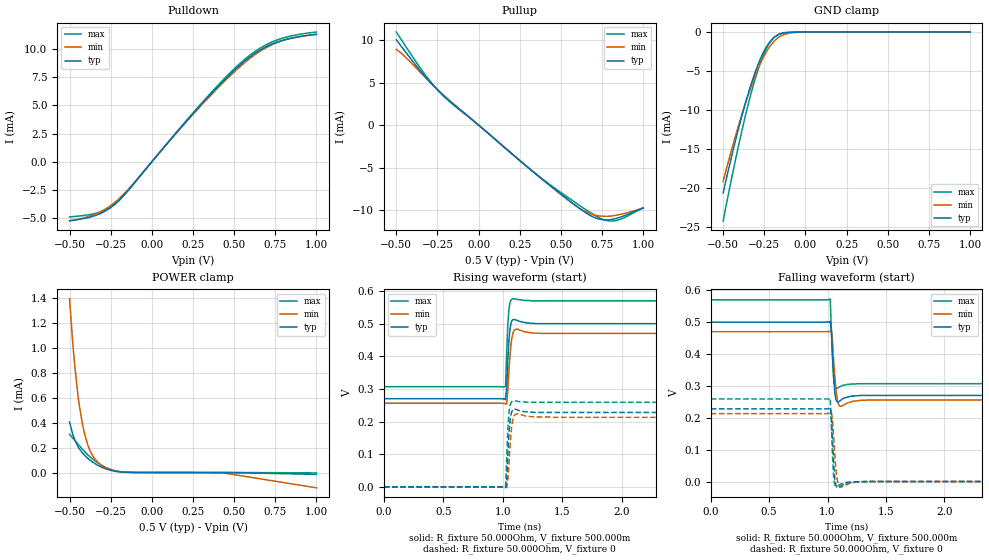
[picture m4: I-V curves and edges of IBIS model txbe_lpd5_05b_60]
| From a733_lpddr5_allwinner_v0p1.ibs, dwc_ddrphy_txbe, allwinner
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[Model] txbe_lpd5_05b_60
Model_type   I/O
Polarity   Non-Inverting
Enable   Active-High
C_comp   1.524pF   1.517pF   1.53pF
C_comp_pullup   285.267fF   277.290fF   288.625fF
C_comp_pulldown   1.179pF   1.178pF   1.182pF
Vinh = 310.000mV
Vinl = 190.000mV
Vmeas = 250.000mV
Vref = 250.000mV
Rref = 50Ohms
Cref = 0pF
[Model Spec]
Vinh   310.000mV   295.000mV   345.000mV
Vinl   190.000mV   175.000mV   225.000mV
Vmeas   250.000mV   235.000mV   285.000mV
Vref   250.000mV   235.000mV   285.000mV
D_overshoot_ampl_h 0.1 NA   NA
D_overshoot_ampl_l 0.1 NA   NA
D_overshoot_area_l 300.000m NA   NA
D_overshoot_area_h 300.000m NA   NA
[Receiver Thresholds]
Vth = 125.000mV
Vth_min = 118.000mV
Vth_max = 143.000mV
Vinh_ac = 60.000mV
Vinh_dc = 60.000mV
Vinl_ac = -60.000mV
Vinl_dc = -60.000mV
Tslew_ac = 5.000ns
Threshold_sensitivity = 0.5
Reference_supply Pullup_ref
[Temperature Range]   25.000   125.000   -40.000
[Voltage Range]   500.000mV   470.000mV   570.000mV
[GND Clamp Reference]   0.00V   0.00V   0.00V
[C Comp Corner]
| variable   typ   min   max
C_comp   1.524pF   1.517pF   1.53pF
C_comp_pullup   285.267fF   277.290fF   288.625fF
C_comp_pulldown   1.179pF   1.178pF   1.182pF
[Pulldown Reference]   0.00V   0.00V   0.00V
[POWER Clamp Reference]   500.000mV   470.000mV   570.000mV
[Pullup Reference]   500.000mV   470.000mV   570.000mV
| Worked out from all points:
|   slope of the pulldown table from 0 to 0.075 V, typ, clamps not added: 57.3 ohm
|   slope of the pullup table from 0 to 0.075 V, typ, clamps not added: 59.8 ohm
|   GND clamp passes 1 mA (typ) near -0.21 V on its own axis
|   rising waveform, R_fixture 50.000Ohm, V_fixture 500.000m: 20-80 % time 18.6ps typ, 24.3ps min, 18.5ps max; typ from 0.27 V to 0.5 V
|   rising waveform, R_fixture 50.000Ohm, V_fixture 0: 20-80 % time 20.1ps typ, 24.5ps min, 19.4ps max; typ from 0 V to 0.228 V
|   falling waveform, R_fixture 50.000Ohm, V_fixture 500.000m: 20-80 % time 19.3ps typ, 24.8ps min, 18.4ps max; typ from 0.5 V to 0.27 V
|   falling waveform, R_fixture 50.000Ohm, V_fixture 0: 20-80 % time 18.7ps typ, 24.2ps min, 17.5ps max; typ from 0.228 V to 0 V
[GND Clamp]
-500mV    -20.66mA   -19.18mA   -24.28mA
-450mV    -16.12mA   -15.23mA   -18.96mA
-400mV    -11.88mA   -11.55mA   -13.99mA
-360mV    -8.788mA   -8.843mA   -10.34mA
-330mV    -6.694mA   -6.985mA   -7.85mA
-290mV    -4.276mA   -4.796mA   -4.961mA
-260mV    -2.801mA   -3.408mA   -3.189mA
-220mV    -1.359mA   -1.949mA   -1.457mA
-190mV    -682.3uA   -1.166mA   -666.1uA
-130mV    -118.6uA   -317.6uA   -81.42uA
-50mV     -5.925uA   -26.96uA   -2.413uA
1V        1.01uA     7.434uA    299.9nA
[Power Clamp]
-500mV    404.6uA    1.393mA    306.3uA
-480mV    303.9uA    1.031mA    275.7uA
-470mV    267.1uA    878.8uA    260.4uA
-450mV    211.3uA    630.6uA    229.8uA
-420mV    154.5uA    375.8uA    183.9uA
-380mV    103.5uA    189.2uA    130.8uA
-350mV    74.95uA    115.7uA    97.55uA
-310mV    45.62uA    61.44uA    61.27uA
-240mV    14.14uA    19.05uA    19.64uA
-150mV    1.277uA    2.728uA    1.437uA
440mV     -284.7nA   -5.375uA   -46.35nA
1V        -14.93uA   -123.1uA   -3.315uA
[Pulldown]
-500mV    -5.21mA    -5.25mA    -4.89mA
-330mV    -4.696mA   -4.554mA   -4.527mA
-260mV    -4.16mA    -3.98mA    -4.108mA
-200mV    -3.427mA   -3.28mA    -3.444mA
-130mV    -2.293mA   -2.221mA   -2.316mA
320mV     5.401mA    5.299mA    5.475mA
480mV     7.816mA    7.674mA    7.942mA
600mV     9.335mA    9.201mA    9.486mA
680mV     10.09mA    9.993mA    10.25mA
770mV     10.65mA    10.6mA     10.83mA
850mV     10.96mA    10.94mA    11.16mA
1V        11.28mA    11.29mA    11.49mA
[Pullup]
-500mV    10.06mA    8.94mA     10.98mA
-440mV    8.532mA    7.946mA    9.205mA
-330mV    5.848mA    5.745mA    6.083mA
-270mV    4.556mA    4.573mA    4.602mA
-210mV    3.423mA    3.483mA    3.351mA
350mV     -5.813mA   -5.794mA   -5.778mA
550mV     -8.9mA     -8.939mA   -8.634mA
640mV     -10.2mA    -10.12mA   -9.824mA
730mV     -11.07mA   -10.71mA   -10.91mA
810mV     -11.11mA   -10.71mA   -11.31mA
870mV     -10.8mA    -10.49mA   -11.05mA
1V        -9.79mA    -9.77mA    -9.75mA
[Ramp]
R_load=50.000Ohm
dV/dt_r   137.390mV/20.000ps  128.015mV/25.000ps  156.598mV/18.500ps
dV/dt_f   137.389mV/20.000ps  128.015mV/25.500ps  156.597mV/17.000ps
[Rising waveform]
R_fixture=50.000Ohm
V_fixture=500.000m
V_fixture_min=470.000m
V_fixture_max=570.000m
0s        270mV      256mV      307mV
1.023ns   267mV      254mV      308mV
1.033ns   307mV      254mV      417mV
1.043ns   395mV      300mV      502mV
1.053ns   456mV      365mV      549mV
1.063ns   490mV      413mV      568mV
1.083ns   512mV      468mV      576mV
1.113ns   511mV      483mV      575mV
1.313ns   500mV      470mV      570mV
10ns      500mV      470mV      570mV
[Rising waveform]
R_fixture=50.000Ohm
V_fixture=0
0s        32.44uV    283.3uV    7.708uV
1.023ns   -3.202mV   -1.342mV   291.8uV
1.033ns   20.41mV    -1.59mV    86.35mV
1.043ns   99.25mV    22.79mV    179mV
1.053ns   169mV      80.08mV    231mV
1.063ns   210mV      136mV      252mV
1.083ns   235mV      204mV      263mV
1.123ns   236mV      224mV      262mV
1.413ns   228mV      213mV      259mV
10ns      228mV      213mV      259mV
[Falling waveform]
R_fixture=50.000Ohm
V_fixture=500.000m
V_fixture_min=470.000m
V_fixture_max=570.000m
0s        500mV      470mV      570mV
1.023ns   503mV      471mV      573mV
1.033ns   474mV      473mV      472mV
1.043ns   390mV      439mV      386mV
1.053ns   324mV      372mV      319mV
1.073ns   255mV      284mV      292mV
1.093ns   250mV      243mV      295mV
1.113ns   255mV      236mV      299mV
1.343ns   270mV      256mV      307mV
10ns      270mV      256mV      307mV
[Falling waveform]
R_fixture=50.000Ohm
V_fixture=0
0s        228mV      213mV      259mV
1.023ns   231mV      214mV      262mV
1.033ns   210mV      217mV      175mV
1.043ns   127mV      192mV      76.86mV
1.053ns   55.39mV    133mV      10.45mV
1.073ns   -14.22mV   32.78mV    -15.12mV
1.093ns   -19.14mV   -10.36mV   -11.98mV
1.113ns   -14.5mV    -17.81mV   -7.954mV
1.383ns   9.146uV    387.9uV    19.4uV
10ns      36.65uV    283.6uV    9.455uV
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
